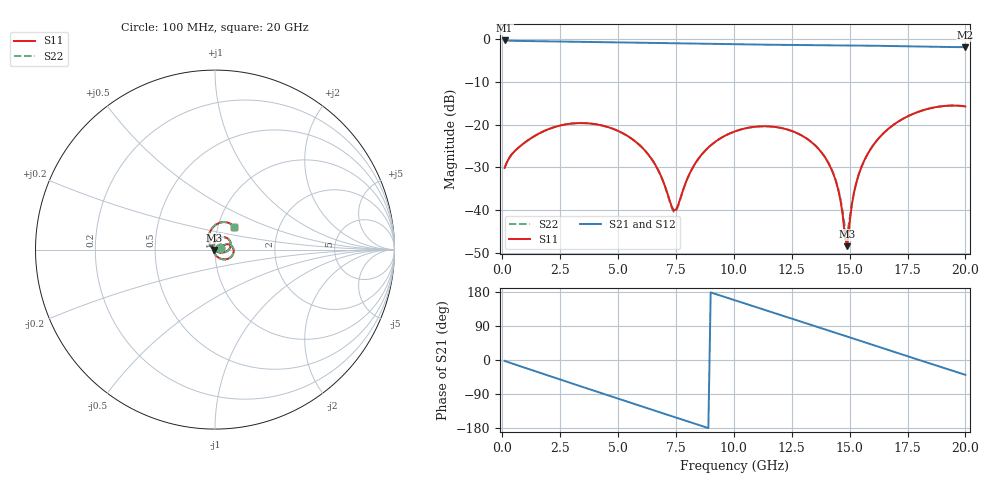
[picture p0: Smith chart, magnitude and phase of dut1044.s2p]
! Touchstone file exported from HFSS 2026.1.0
!  File:  C:/ffzhzh/LocalFiles/Ansys_Project_Files/temp_train_TSV_RDL_1044_1783295875_5512.aedt
!  Generated:  08:06:20 AM Jul  6, 2026
!  Design:  TSV_RDL
!  Project:  temp_train_TSV_RDL_1044_1783295875_5512
! Variables:
!  h_bsmrdl = 4.32um
!  h_ox = 20um
!  h_rdl = 5um
!  h_sub = 68.67um
!  h_tmrdl = 5.26um
!  h_tsv = 68.67um
!  h_via = 3um
!  l_bsmrdl = 855.72um
!  l_sub = 7005.88um
!  l_tmrdl = 982.41um
!  m_sub = 200um
!  pitch = 23.61um
!  r_tsv = 4.7um
!  s_tmrdl = 10um
!  w_bsmrdl = 20.16um
!  w_sub = 500um
!  w_tmrdl = 16.2um
!  x_tsv_center1 = 990.51um
!  x_tsv_center2 = 1866.39um
!  x_tsv_center3 = 2865um
!  x_tsv_center4 = 3740.88um
!  x_tsv_center5 = 4739.49um
!  x_tsv_center6 = 5615.37um
# GHz S MA R 50.000000
! Terminal data exported
! Port[1] = TM_RDL1_1_T1
! Port[2] = TM_RDL5_1_T1
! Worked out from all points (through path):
!   200 points, 100 MHz to 20 GHz, reference 50 ohm
!   highest |S21| = -0.27 dB at 100 MHz (marker M1); lowest = -1.8 dB at 20 GHz (marker M2)
!   group delay of S21, straight-line fit = 55.2 ps
!   lowest |S11| = -48.4 dB at 14.9 GHz (marker M3), VSWR 1.01, Z = 49.7 - j0.193 ohm
!   |S11| at or under -10 dB: start of sweep to end of sweep
!   |S22| runs from -45.6 to -15.5 dB; largest |S21 - S12| = 2.9e-14
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0.1  0.03132 13.8  0.9699 -2.3  0.9699 -2.3  0.03132 13.8
! Gamma 0 0 0 0
! Port Impedance 50 0 50 0
0.5  0.04806 24.8  0.9602 -10.8  0.9602 -10.8  0.04806 24.8
1.5  0.07679 22.9  0.9511 -31.2  0.9511 -31.2  0.07678 22.9
3.5  0.1046 -8.6  0.9329 -71.8  0.9329 -71.8  0.1046 -8.5
5.5  0.07133 -49.7  0.9165 -111.9  0.9165 -111.9  0.0713 -49.6
6.8  0.02705 -88.4  0.9051 -138.0  0.9051 -138.0  0.02692 -88.0
7.3  0.01134 -137.0  0.9004 -147.9  0.9004 -147.9  0.01104 -136.3
7.5  0.01008 176.6  0.8984 -151.9  0.8984 -151.9  0.009746 175.9
8.5  0.04106 93.7  0.8883 -171.8  0.8883 -171.8  0.04102 93.0
10.1  0.08468 55.5  0.8735 156.7  0.8735 156.7  0.08471 54.9
11.9  0.0933 19.1  0.8627 121.4  0.8627 121.4  0.09339 18.4
13.4  0.0611 -11.3  0.8574 91.8  0.8574 91.8  0.06126 -12.6
14.4  0.02216 -36.6  0.8532 71.8  0.8532 71.8  0.02253 -40.4
14.6  0.01326 -46.8  0.8521 67.8  0.8521 67.8  0.01383 -52.9
14.8  0.004881 -81.4  0.8509 63.8  0.8509 63.8  0.006146 -91.0
14.9  0.003796 -149.2  0.8503 61.8  0.8503 61.8  0.005254 -142.0
15.1  0.01174 156.4  0.849 57.8  0.849 57.8  0.01223 163.5
15.4  0.02642 140.8  0.8468 51.8  0.8468 51.8  0.02659 144.2
15.9  0.05162 127.4  0.8427 41.8  0.8427 41.8  0.05167 129.1
16.7  0.09086 110.5  0.835 25.8  0.835 25.8  0.09085 111.5
18.3  0.1515 80.1  0.8191 -5.8  0.8191 -5.8  0.1515 80.5
20  0.164 49.9  0.8096 -39.2  0.8096 -39.2  0.164 50.1
